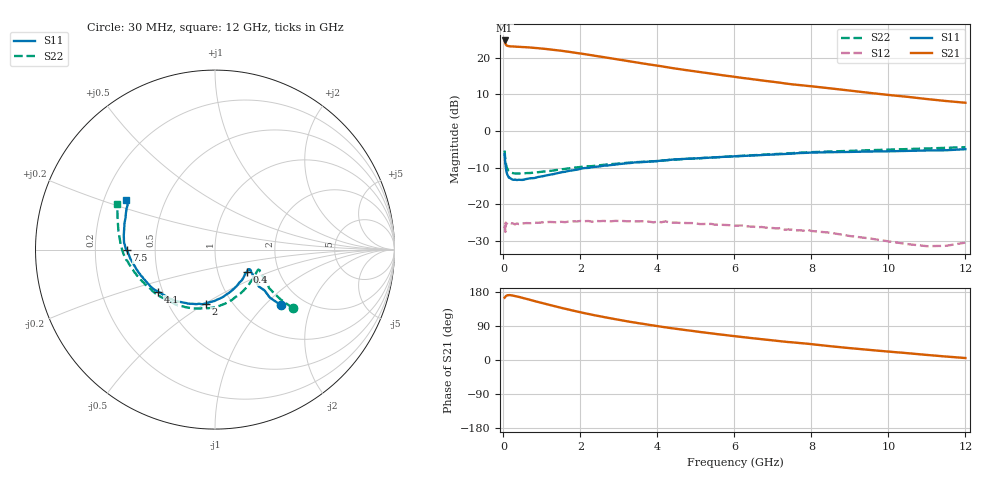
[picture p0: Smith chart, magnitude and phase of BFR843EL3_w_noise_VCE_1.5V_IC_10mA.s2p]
! Infineon Technologies  Discrete & RF Semiconductors
! BFR843EL3
! VCE =  1.5 V,  IC =  10 mA
! Common Emitter S-Parameters:  Aug 2013
# GHz  S  MA  R  50
!  f  S11  S21  S12  S22
! GHz  MAG  ANG  MAG  ANG  MAG  ANG  MAG  ANG
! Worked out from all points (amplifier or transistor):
!   103 points, 30 MHz to 12 GHz, reference 50 ohm
!   highest |S21| = 24.7 dB at 30 MHz (marker M1)
!   |S21| within 3 dB of that: start of sweep to 1.638 GHz
!   unconditionally stable (mu >= 1): 290.6 MHz to 309.6 MHz; 5.465 GHz to end of sweep
!   at 400 MHz: K = 1.00, MSG = 24.1 dB, |S12| = -25.4 dB
!   at 3.7 GHz: K = 0.86, MSG = 21.5 dB, |S12| = -24.6 dB
!   at 12 GHz: K = 2.95, MAG = 11.5 dB, |S12| = -30.4 dB
!   lowest NFmin = 0.89 dB at 450 MHz
!   S11 on the Smith chart (normalised r, x): 30 MHz: 1.55, -1.26; 400 MHz: 1.38, -0.36; 2 GHz: 0.76, -0.50; 4.1 GHz: 0.47, -0.26; 7.5 GHz: 0.34, -0.00; 12 GHz: 0.29, +0.24
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0.03  0.4829 -40.1  17.11 164.4  0.0475 29.6  0.5431 -37.0
0.04  0.4064 -41.2  16.12 165.7  0.0507 24.2  0.4572 -37.2
0.06  0.3193 -40.1  15.08 168.2  0.0565 21.0  0.3695 -35.4
0.08  0.2794 -36.6  14.67 169.8  0.054 13.3  0.3266 -32.1
0.12  0.2436 -32.5  14.39 171.0  0.0544 8.4  0.2929 -27.3
0.2  0.2228 -29.5  14.17 170.8  0.0552 5.6  0.274 -24.7
0.4  0.217 -34.6  14 166.5  0.054 3.5  0.2641 -29.3
0.8  0.2284 -53.5  13.55 155.7  0.0563 2.6  0.2717 -46.5
1.2  0.2534 -72.1  12.92 145.3  0.0577 1.2  0.286 -63.8
1.6  0.2784 -87.3  12.19 135.3  0.0573 1.5  0.3048 -78.4
2  0.3051 -99.9  11.36 126.0  0.0596 -0.2  0.3235 -92.2
2.1  0.3127 -103.4  11.15 123.7  0.0591 -0.9  0.3275 -95.4
2.6  0.3367 -116.6  10.14 113.5  0.0596 -2.3  0.3462 -108.4
3  0.3544 -125.0  9.373 106.0  0.0595 -3.1  0.361 -117.5
3.5  0.3755 -134.7  8.522 97.3  0.0588 -4.3  0.3775 -127.6
4.1  0.395 -143.5  7.616 87.9  0.0571 -7.2  0.394 -136.6
5.1  0.4264 -156.8  6.354 74.0  0.054 -10.3  0.4251 -150.4
6.1  0.454 -167.3  5.376 61.8  0.0516 -11.4  0.4563 -161.2
7.5  0.4913 -179.7  4.32 46.7  0.0453 -12.5  0.4999 -174.4
8.5  0.5146 171.0  3.803 36.3  0.0411 -15.3  0.5268 176.7
10.5  0.5359 157.9  2.919 18.0  0.0288 0.6  0.5676 162.9
12  0.5656 150.7  2.425 5.2  0.0302 22.8  0.6028 154.9
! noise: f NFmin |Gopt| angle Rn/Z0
0.45  0.89  0.06  61  0.12
0.9  0.91  0.07  70  0.12
1.5  0.93  0.08  78  0.12
1.9  0.95  0.08  82  0.12
2.4  0.96  0.09  94  0.12
3.5  0.99  0.11  109  0.11
5.5  1.05  0.17  142  0.11
8  1.12  0.28  177  0.07
10  1.17  0.4  212  0.06
